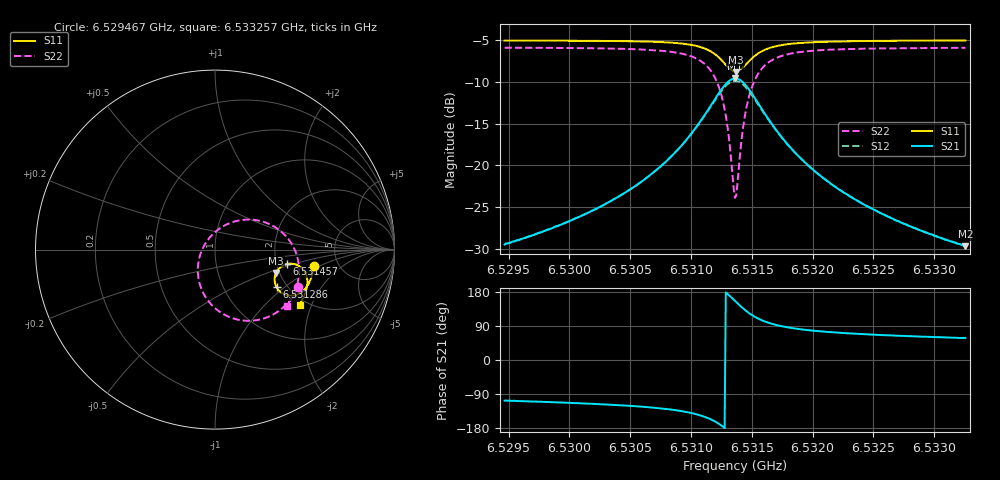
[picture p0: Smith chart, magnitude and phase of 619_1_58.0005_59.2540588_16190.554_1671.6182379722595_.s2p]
#  HZ  S  RI  R  50.00
! Rohde & Schwarz Vector Network Analyzer
! Rohde-Schwarz,ZNB20-2Port,1311601062101988,3.16
! Created: UTC 3/21/2024, 1:18:03 AM
! freq[Hz]  re:S11  im:S11  re:S21  im:S21  re:S12  im:S12  re:S22  im:S22
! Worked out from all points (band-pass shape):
!   401 points, 6.529467 GHz to 6.533257 GHz, reference 50 ohm
!   highest |S21| = -9.57 dB at 6.531362 GHz (marker M1); lowest = -29.7 dB at 6.533257 GHz (marker M2)
!   |S21| within 3 dB of the highest: 6.531174 GHz to 6.531553 GHz (379.1 kHz wide, 0.0058 % of centre)
!   lowest |S11| = -8.8 dB at 6.531372 GHz (marker M3), VSWR 2.15, Z = 95.8 - j28.9 ohm
!   |S11| at or under -10 dB: nowhere
!   |S22| runs from -23.9 to -5.9 dB; largest |S21 - S12| = 0.014
!   S11 on the Smith chart (normalised r, x): 6.529467 GHz: 3.29, -0.88; 6.531286 GHz: 1.76, -0.88; 6.531457 GHz: 2.27, -0.44; 6.533257 GHz: 1.83, -1.64
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6.5294673e9  0.5529 -0.0918  -0.00996 -0.032  -0.0106 -0.0321  0.463 -0.2101
6.530102e9  0.5401 -0.1453  -0.0207 -0.0455  -0.0218 -0.045  0.4276 -0.2694
6.5304526e9  0.5272 -0.1786  -0.0342 -0.0591  -0.0359 -0.0582  0.3918 -0.311
6.5307368e9  0.5084 -0.2105  -0.0584 -0.0772  -0.0607 -0.0754  0.3371 -0.3539
6.5309547e9  0.4788 -0.239  -0.1021 -0.0963  -0.1049 -0.0925  0.2494 -0.3896
6.5311252e9  0.4274 -0.2566  -0.1819 -0.0989  -0.1839 -0.091  0.1043 -0.3844
6.53122e9  0.3781 -0.2452  -0.2578 -0.0621  -0.2552 -0.0511  -0.0193 -0.3078
6.5312863e9  0.3429 -0.2094  -0.3076 0.00967  -0.2992 0.0201  -0.0885 -0.1781
6.5313147e9  0.3341 -0.1851  -0.3174 0.0543  -0.3063 0.0625  -0.0958 -0.1032
6.5313431e9  0.3327 -0.1577  -0.3139 0.1032  -0.3015 0.1084  -0.0811 -0.024
6.5313621e9  0.3366 -0.1395  -0.3036 0.1353  -0.2909 0.1381  -0.0582 0.0263
6.5313715e9  0.3401 -0.1306  -0.2961 0.1505  -0.2836 0.1521  -0.0432 0.0497
6.531381e9  0.3444 -0.1223  -0.2873 0.165  -0.2748 0.1655  -0.026 0.0714
6.5314284e9  0.3761 -0.0905  -0.2274 0.2179  -0.2179 0.2146  0.0811 0.1472
6.5314568e9  0.3987 -0.0811  -0.1868 0.233  -0.1794 0.2289  0.1506 0.1651
6.5315231e9  0.4459 -0.0818  -0.1049 0.2322  -0.1015 0.2284  0.2872 0.1489
6.5316179e9  0.4865 -0.1061  -0.036 0.1955  -0.0343 0.1936  0.3976 0.0717
6.53176e9  0.5093 -0.1445  0.00445 0.1434  0.00563 0.1426  0.4562 -0.0325
6.5319968e9  0.5144 -0.1892  0.0204 0.0931  0.0215 0.0926  0.4679 -0.1362
6.5322431e9  0.5092 -0.2209  0.0223 0.0661  0.0233 0.0658  0.4579 -0.1964
6.5326316e9  0.4961 -0.2586  0.0207 0.0443  0.0215 0.044  0.4357 -0.254
6.5332569e9  0.471 -0.3065  0.0174 0.0278  0.0181 0.0275  0.4005 -0.3121
